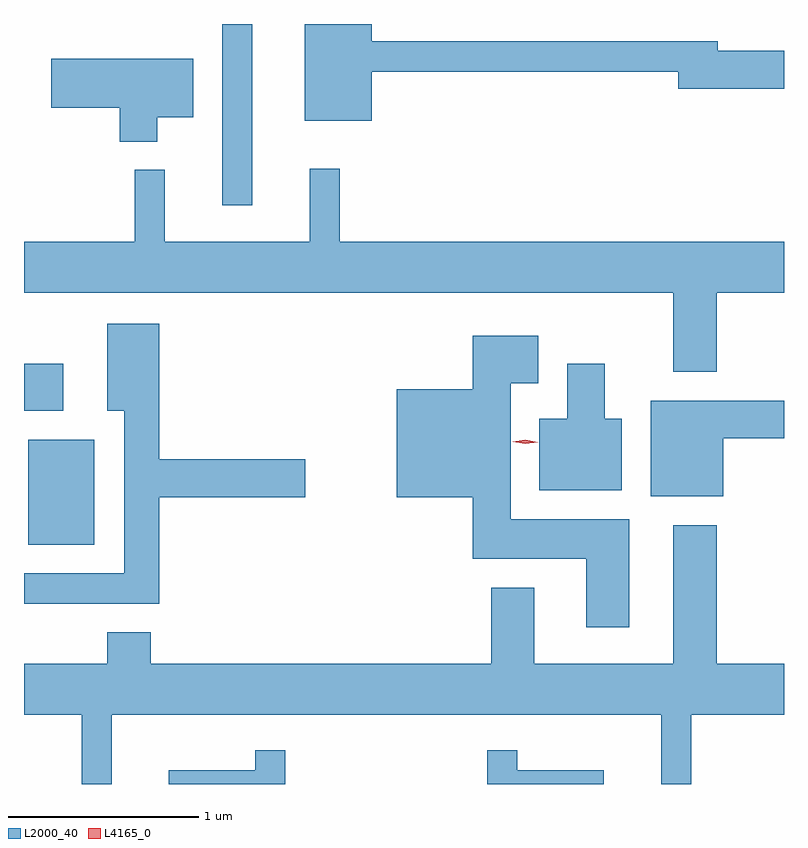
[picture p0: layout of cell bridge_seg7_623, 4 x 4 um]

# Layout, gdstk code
import gdstk
lib = gdstk.Library(unit=1e-6, precision=1e-09)
def R(c, l, rs):  # rectangles x0, y0, x1, y1
    for r in rs: c.add(gdstk.rectangle(r[:2], r[2:], *l))
def P(c, l, *ps):  # polygons
    for p in ps: c.add(gdstk.Polygon(p, *l))
L2000_40 = (2000, 40)
L4165_0 = (4165, 0)

bridge_seg7_623 = lib.new_cell('bridge_seg7_623')
R(bridge_seg7_623, L2000_40, [(727.256,1697.451,727.604,1698.004), (727.233,1698.156,727.439,1698.404), (728.276,1699.238,728.434,1700.191)])
P(bridge_seg7_623, L2000_40, [(729.064,1699.941),(730.676,1699.941),(730.676,1699.851),(731.233,1699.851),(731.233,1700.049),(730.884,1700.049),(730.884,1700.099),(729.064,1700.099),(729.064,1700.191),(728.711,1700.191),(728.711,1699.681),(729.064,1699.681)],
  [(727.934,1699.701),(728.124,1699.701),(728.124,1700.009),(727.376,1700.009),(727.376,1699.751),(727.736,1699.751),(727.736,1699.571),(727.934,1699.571)],
  [(730.879,1698.776),(731.233,1698.776),(731.233,1699.044),(728.894,1699.044),(728.894,1699.428),(728.736,1699.428),(728.736,1699.044),(727.974,1699.044),(727.974,1699.423),(727.816,1699.423),(727.816,1699.044),(727.233,1699.044),(727.233,1698.776),(730.651,1698.776),(730.651,1698.361),(730.879,1698.361)],
  [(727.944,1697.701),(728.714,1697.701),(728.714,1697.899),(727.944,1697.899),(727.944,1698.614),(727.671,1698.614),(727.671,1698.156),(727.761,1698.156),(727.761,1697.299),(727.233,1697.299),(727.233,1697.141),(727.944,1697.141)],
  [(730.419,1697.584),(729.794,1697.584),(729.794,1698.301),(729.939,1698.301),(729.939,1698.549),(729.596,1698.549),(729.596,1698.269),(729.196,1698.269),(729.196,1697.701),(729.596,1697.701),(729.596,1697.376),(730.191,1697.376),(730.191,1697.016),(730.419,1697.016)],
  [(730.379,1698.114),(730.289,1698.114),(730.289,1698.404),(730.091,1698.404),(730.091,1698.114),(729.946,1698.114),(729.946,1697.736),(730.379,1697.736)],
  [(730.914,1698.011),(731.233,1698.011),(731.233,1698.209),(730.531,1698.209),(730.531,1697.706),(730.914,1697.706)],
  [(727.694,1696.556),(730.586,1696.556),(730.586,1696.191),(730.744,1696.191),(730.744,1696.556),(731.233,1696.556),(731.233,1696.824),(730.879,1696.824),(730.879,1697.554),(730.651,1697.554),(730.651,1696.824),(729.919,1696.824),(729.919,1697.224),(729.691,1697.224),(729.691,1696.824),(727.899,1696.824),(727.899,1696.989),(727.671,1696.989),(727.671,1696.824),(727.233,1696.824),(727.233,1696.556),(727.536,1696.556),(727.536,1696.191),(727.694,1696.191)],
  [(730.284,1696.264),(729.829,1696.264),(729.829,1696.368),(729.671,1696.368),(729.671,1696.191),(730.284,1696.191)],
  [(728.609,1696.368),(728.451,1696.368),(728.451,1696.264),(727.996,1696.264),(727.996,1696.191),(728.609,1696.191)])
P(bridge_seg7_623, L4165_0, [(729.872,1697.982),(729.806,1697.992),(729.806,1697.993),(729.806,1697.993),(729.872,1698.002),(729.937,1697.991),(729.938,1697.99),(729.937,1697.99)])

lib.write_gds('bridge_seg7_623.gds')
